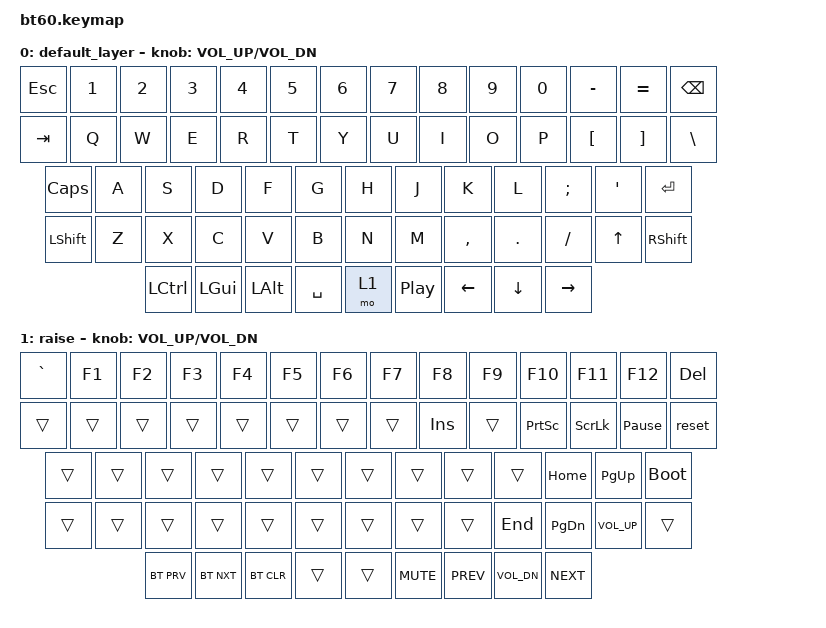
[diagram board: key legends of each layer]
#include <behaviors.dtsi>
#include <dt-bindings/zmk/keys.h>
#include <dt-bindings/zmk/bt.h>
&kscan0 {
    debounce-period = <20>;
};

/ {
	keymap {
		compatible = "zmk,keymap";

		default_layer {
				// ------------------------------------------------------------------------------------------
				// | ESC |  1  |  2  |  3  |  4  |  5  |  6  |  7  |  8  |  9  |  0  |  -  |  =  |   BKSP   |
				// | TAB  |  Q  |  W  |  E  |  R  |  T  |  Y  |  U  |  I  |  O  |  P  |  [  |  ]  |   |    |
				// | CAPS  |  A  |  S  |  D  |  F  |  G  |  H  |  J  |  K  |  L  |  ;  |  '  |     ENTER    |
				// |  SHIFT    |  Z  |  X  |  C  |  V  |  B  |  N  |  M  |  ,  |  .  | /   |   UP   |  SHIFT  | 
				// |  CTL  |  WIN  |  ALT  |            SPACE               |  PP  |  1  |  LEFT  |  DOWN  |  RIGHT  |
				// ------------------------------------------------------------------------------------------
			bindings = <
				&kp ESC &kp N1 &kp N2 &kp N3 &kp N4 &kp N5 &kp N6 &kp N7 &kp  N8   &kp  N9 &kp  N0  &kp MINUS &kp EQUAL &kp BSPC
				&kp TAB  &kp Q  &kp W  &kp E  &kp R  &kp T  &kp Y  &kp U  &kp  I    &kp  O  &kp  P   &kp LBKT &kp RBKT  &kp BSLH
				&kp CLCK  &kp A  &kp S  &kp D  &kp F  &kp G  &kp H  &kp J  &kp  K    &kp  L  &kp SEMI &kp SQT           &kp RET
				&kp LSHFT  &kp Z  &kp X  &kp C  &kp V  &kp B  &kp N  &kp M  &kp COMMA &kp DOT &kp FSLH     &kp UP     &kp RSHIFT
				&kp LCTRL &kp LGUI &kp LALT            &kp SPACE                          &mo 1 &kp C_PP &kp LEFT &kp DOWN &kp RIGHT
			>;
			sensor-bindings = <&inc_dec_kp C_VOL_UP C_VOL_DN>;
		};
		raise {
			bindings = <
				&kp GRAVE &kp F1 &kp F2 &kp F3 &kp F4 &kp F5 &kp F6 &kp F7 &kp  F8   &kp  F9 &kp  F10  &kp F11 &kp F12   &kp DEL
				&trans &trans &trans &trans &trans &trans &trans &trans &kp INS &trans &kp PSCRN &kp SLCK &kp PAUSE_BREAK &reset
				&trans    &trans &trans &trans &trans &trans &trans &trans &trans &trans &kp HOME  &kp PG_UP   &bootloader
				&trans &trans &trans &trans &trans &trans &trans &trans &trans &kp END &kp PG_DN  &kp C_VOL_UP &trans
				&bt BT_PRV &bt BT_NXT  &bt BT_CLR              &trans                  &trans  &kp C_MUTE  &kp C_PREV  &kp C_VOL_DN  &kp C_NEXT
			>;
			sensor-bindings = <&inc_dec_kp C_VOL_UP C_VOL_DN>;
		};
	};
};
